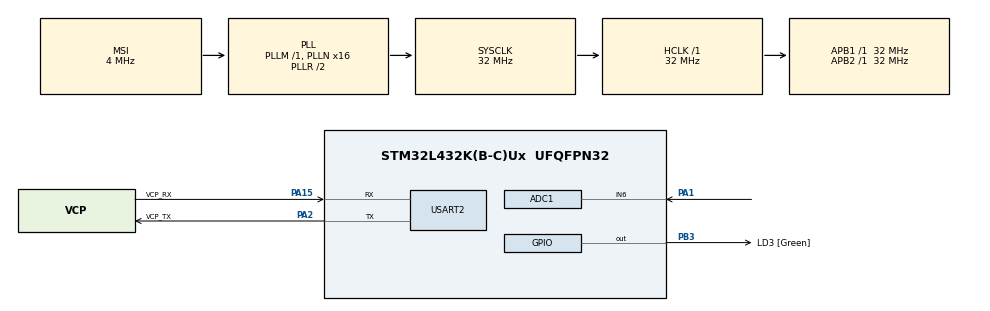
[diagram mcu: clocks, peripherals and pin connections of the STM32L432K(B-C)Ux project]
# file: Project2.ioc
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ADC1.Channel-4\#ChannelRegularConversion=ADC_CHANNEL_6
ADC1.ContinuousConvMode=DISABLE
ADC1.DMAContinuousRequests=ENABLE
ADC1.ExternalTrigConv=ADC_EXTERNALTRIG_T2_TRGO
ADC1.NbrOfConversionFlag=1
ADC1.OffsetNumber-4\#ChannelRegularConversion=ADC_OFFSET_NONE
ADC1.Rank-4\#ChannelRegularConversion=1
ADC1.SamplingTime-4\#ChannelRegularConversion=ADC_SAMPLETIME_2CYCLES_5
ADC1.master=1
Dma.ADC1.0.Direction=DMA_PERIPH_TO_MEMORY
Dma.ADC1.0.Instance=DMA1_Channel1
Dma.ADC1.0.MemDataAlignment=DMA_MDATAALIGN_HALFWORD
Dma.ADC1.0.MemInc=DMA_MINC_ENABLE
Dma.ADC1.0.Mode=DMA_CIRCULAR
Dma.ADC1.0.PeriphDataAlignment=DMA_PDATAALIGN_HALFWORD
Dma.ADC1.0.PeriphInc=DMA_PINC_DISABLE
Dma.ADC1.0.Priority=DMA_PRIORITY_LOW
Dma.Request0=ADC1
Mcu.Family=STM32L4
Mcu.Name=STM32L432K(B-C)Ux
Mcu.Package=UFQFPN32
NVIC.DMA1_Channel1_IRQn=true\:0\:0\:false\:false\:true\:false\:true\:true
NVIC.PriorityGroup=NVIC_PRIORITYGROUP_4
NVIC.USART2_IRQn=true\:0\:0\:false\:false\:true\:true\:true\:true
PA0.GPIO_Label=MCO [High speed clock in]
PA0.Mode=HSE-External-Clock-Source-for-LittleOrca
PA0.Signal=RCC_CK_IN
PA1.Signal=ADCx_IN6
PA13\ (JTMS-SWDIO).GPIO_Label=SWDIO
PA13\ (JTMS-SWDIO).Mode=Serial_Wire
PA13\ (JTMS-SWDIO).Signal=SYS_JTMS-SWDIO
PA14\ (JTCK-SWCLK).GPIO_Label=SWCLK
PA14\ (JTCK-SWCLK).Mode=Serial_Wire
PA14\ (JTCK-SWCLK).Signal=SYS_JTCK-SWCLK
PA15\ (JTDI).GPIO_Label=VCP_RX
PA15\ (JTDI).Mode=Asynchronous
PA15\ (JTDI).Signal=USART2_RX
PA2.GPIO_Label=VCP_TX
PA2.Mode=Asynchronous
PA2.Signal=USART2_TX
PB3\ (JTDO-TRACESWO).GPIO_Label=LD3 [Green]
PB3\ (JTDO-TRACESWO).Signal=GPIO_Output
PC14-OSC32_IN\ (PC14).Mode=LSE-External-Oscillator
PC14-OSC32_IN\ (PC14).Signal=RCC_OSC32_IN
PC15-OSC32_OUT\ (PC15).Mode=LSE-External-Oscillator
PC15-OSC32_OUT\ (PC15).Signal=RCC_OSC32_OUT
ProjectManager.HeapSize=0x200
ProjectManager.StackSize=0x400
ProjectManager.TargetToolchain=STM32CubeIDE
RCC.ADCFreq_Value=32000000
RCC.AHBFreq_Value=32000000
RCC.APB1Freq_Value=32000000
RCC.APB1TimFreq_Value=32000000
RCC.APB2Freq_Value=32000000
RCC.APB2TimFreq_Value=32000000
RCC.CortexFreq_Value=32000000
RCC.HCLKFreq_Value=32000000
RCC.HSE_VALUE=8000000
RCC.HSI16_VALUE=16000000
RCC.HSI48_VALUE=48000000
RCC.HSI_VALUE=16000000
RCC.MSI_VALUE=4000000
RCC.PLLMUL=RCC_PLLMUL_4
RCC.PLLN=16
RCC.PLLSAI1N=16
RCC.SYSCLKFreq_VALUE=32000000
RCC.SYSCLKSource=RCC_SYSCLKSOURCE_PLLCLK
RCC.USBFreq_Value=32000000
RCC.VCOOutputFreq_Value=64000000
SH.ADCx_IN6.0=ADC1_IN6,IN6-Single-Ended
TIM2.Period=99
TIM2.Prescaler=31
TIM2.TIM_MasterOutputTrigger=TIM_TRGO_UPDATE
USART2.VirtualMode-Asynchronous=VM_ASYNC
VP_TIM2_VS_ClockSourceINT.Mode=Internal
board=NUCLEO-L432KC

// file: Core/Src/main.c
/* USER CODE BEGIN Header */
/**
  ******************************************************************************
  * @file           : main.c
  * @brief          : Main program body
  ******************************************************************************
  * @attention
  *
  * Copyright (c) 2026 STMicroelectronics.
  * All rights reserved.
  *
  * This software is licensed under terms that can be found in the LICENSE file
  * in the root directory of this software component.
  * If no LICENSE file comes with this software, it is provided AS-IS.
  *
  ******************************************************************************
  */
/* USER CODE END Header */
#include "main.h"

/* USER CODE BEGIN Includes */
#include <stdio.h>
#include <stdlib.h>
#include <string.h>
/* USER CODE END Includes */

ADC_HandleTypeDef hadc1;
DMA_HandleTypeDef hdma_adc1;

TIM_HandleTypeDef htim2;

UART_HandleTypeDef huart2;

/* USER CODE BEGIN PV */
#define BUFFER_SIZE 512
#define STA_SHIFT 3
#define LTA_SHIFT 9
#define TRIGGER_RATIO 3
// TIGHTENED WINDOW: Reduced from 1000 to 500 to soak up less background noise
#define VALIDATION_WINDOW_LEN 1000
#define COOLDOWN_LEN 50000

// --- SYSTEM STATES ---
typedef enum {
    SYS_INITIAL,
    SYS_CALIBRATING,
    SYS_TEST
} System_State_t;

typedef enum {
    DSP_IDLE,
    DSP_VALIDATING,
    DSP_COOLDOWN
} DSP_State_t;

System_State_t current_sys_state = SYS_INITIAL;
DSP_State_t current_dsp_state = DSP_IDLE;

// --- DMA & DSP BUFFERS ---
uint16_t adc_buffer[BUFFER_SIZE];
uint8_t data_ready_flag = 0;
uint8_t process_first_half = 0;

uint32_t sta = 0, lta = 0, state_timer = 0, ring_count = 0;
int8_t prev_polarity = 1;
// OLD: uint32_t dynamic_mid_rail = 2048;
float dynamic_mid_rail = 2048.0f;uint32_t energy_sum = 0;

// --- MACHINE LEARNING GLOBALS ---
uint32_t learned_profiles[4] = {0, 0, 0, 0};
uint8_t learn_stage = 0;
uint8_t drops_this_stage = 0;
uint32_t temp_energy_accumulator = 0;

// --- UART RX GLOBALS ---
uint8_t rx_byte;
char rx_buffer[50];
uint8_t rx_index = 0;
uint8_t msg_received = 0;
char tx_buf[150];
/* USER CODE END PV */

void SystemClock_Config(void);
static void MX_GPIO_Init(void);
static void MX_DMA_Init(void);
static void MX_USART2_UART_Init(void);
static void MX_TIM2_Init(void);
static void MX_ADC1_Init(void);
/* USER CODE BEGIN PFP */

void Auto_Zero_Routine(void);

/* USER CODE END PFP */

int main(void)
{

  /* MCU Configuration--------------------------------------------------------*/

  /* Reset of all peripherals, Initializes the Flash interface and the Systick. */
  HAL_Init();

  /* Configure the system clock */
  SystemClock_Config();

  /* Initialize all configured peripherals */
  MX_GPIO_Init();
  MX_DMA_Init();
  MX_USART2_UART_Init();
  MX_TIM2_Init();
  MX_ADC1_Init();
  /* USER CODE BEGIN 2 */
  // Start Peripherals
  HAL_ADCEx_Calibration_Start(&hadc1, ADC_SINGLE_ENDED);

  // FIX: Start DMA FIRST, then Start Timer!
  HAL_ADC_Start_DMA(&hadc1, (uint32_t*)adc_buffer, BUFFER_SIZE);
  HAL_TIM_Base_Start(&htim2);

  // Start listening to Python via UART
  HAL_UART_Receive_IT(&huart2, &rx_byte, 1);

  // Calibrate the exact DC offset immediately
  Auto_Zero_Routine();
  // OLD: sprintf(tx_buf, "STM32_READY|MID_RAIL:%lu\n", dynamic_mid_rail);
  sprintf(tx_buf, "STM32_READY|MID_RAIL:%lu\n", (uint32_t)dynamic_mid_rail);
  HAL_UART_Transmit(&huart2, (uint8_t*)tx_buf, strlen(tx_buf), HAL_MAX_DELAY);
  /* USER CODE END 2 */

  /* Infinite loop */
  /* USER CODE BEGIN WHILE */
  while (1)
  {
      // --- 1. HANDLE PYTHON COMMANDS ---
      if (msg_received) {
          msg_received = 0;

          if (strcmp(rx_buffer, "CMD:CALIBRATE") == 0) {
              current_sys_state = SYS_CALIBRATING;
              learn_stage = 0; drops_this_stage = 0; temp_energy_accumulator = 0;
              sprintf(tx_buf, "ACK:CALIBRATING\n");
              HAL_UART_Transmit(&huart2, (uint8_t*)tx_buf, strlen(tx_buf), HAL_MAX_DELAY);
          }
          else if (strncmp(rx_buffer, "CMD:LOAD", 8) == 0) {
              // Python sends: CMD:LOAD,1000,2000,3000,4000
              sscanf(rx_buffer, "CMD:LOAD,%lu,%lu,%lu,%lu",
                     &learned_profiles[0], &learned_profiles[1],
                     &learned_profiles[2], &learned_profiles[3]);
              current_sys_state = SYS_TEST;
              sprintf(tx_buf, "ACK:LOADED_AND_TESTING\n");
              HAL_UART_Transmit(&huart2, (uint8_t*)tx_buf, strlen(tx_buf), HAL_MAX_DELAY);
          }
          else if (strcmp(rx_buffer, "CMD:INITIAL") == 0) {
              current_sys_state = SYS_INITIAL;
              sprintf(tx_buf, "ACK:INITIAL\n");
              HAL_UART_Transmit(&huart2, (uint8_t*)tx_buf, strlen(tx_buf), HAL_MAX_DELAY);
          }
      }

      // --- 2. THE DSP ENGINE (Only runs if data is ready) ---
		if (data_ready_flag) {
			data_ready_flag = 0;
			int start_idx = process_first_half ? 0 : (BUFFER_SIZE / 2);
			int end_idx = process_first_half ? (BUFFER_SIZE / 2) : BUFFER_SIZE;

			for (int i = start_idx; i < end_idx; i++) {
				uint16_t sample = adc_buffer[i];

				uint32_t magnitude = abs((int32_t)sample - (int32_t)dynamic_mid_rail);
				int8_t current_polarity = (sample > dynamic_mid_rail) ? 1 : -1;

				switch (current_dsp_state) {

					case DSP_IDLE:
						// Smoothly track the baseline ONLY when the room is quiet
						dynamic_mid_rail = (0.999f * dynamic_mid_rail) + (0.001f * (float)sample);

						sta = sta + ((magnitude - sta) >> STA_SHIFT);
						lta = lta + ((magnitude - lta) >> LTA_SHIFT);

						// RAISED FLOOR: Changed 'sta > 50' to 'sta > 150' so normal room chatter doesn't falsely trigger it
						if (lta > 0 && sta > (lta * TRIGGER_RATIO) && sta > 150) {
							current_dsp_state = DSP_VALIDATING;
							state_timer = 0; ring_count = 0; energy_sum = 0;
							prev_polarity = current_polarity;
						}
						break;

					case DSP_VALIDATING:
						state_timer++;

						// NOISE GATE: Only add the energy that sits *above* the frozen ambient noise floor (lta)
						if (magnitude > (lta + 5)) {
							energy_sum += (magnitude - lta);
						}

						if (current_polarity != prev_polarity) {
							ring_count++;
							prev_polarity = current_polarity;
						}

						if (state_timer >= VALIDATION_WINDOW_LEN) {

							// NOTE: I lowered this from 10000 to 2000 because our new noise gate
							// drastically reduces the total energy calculated (which is a good thing!)
							if (energy_sum < 2000) {
								current_dsp_state = DSP_COOLDOWN;
								state_timer = 0;
								break;
							}

							if (ring_count >= 3 && current_sys_state != SYS_INITIAL) {
								// ... The rest of your code remains exactly the same from here down! ...
								// --- STATE: CALIBRATING ---
								if (current_sys_state == SYS_CALIBRATING) {
									temp_energy_accumulator += energy_sum;
									drops_this_stage++;

									sprintf(tx_buf, "CAL_DROP:%d|ENERGY:%lu\n", drops_this_stage, energy_sum);
									HAL_UART_Transmit(&huart2, (uint8_t*)tx_buf, strlen(tx_buf), HAL_MAX_DELAY);

									if (drops_this_stage >= 3) {
										learned_profiles[learn_stage] = temp_energy_accumulator / 3;
										sprintf(tx_buf, "CAL_STAGE_DONE:%d|CENTROID:%lu\n", learn_stage, learned_profiles[learn_stage]);
										HAL_UART_Transmit(&huart2, (uint8_t*)tx_buf, strlen(tx_buf), HAL_MAX_DELAY);

										learn_stage++;
										drops_this_stage = 0; temp_energy_accumulator = 0;

										if (learn_stage >= 4) {
											current_sys_state = SYS_INITIAL;
											sprintf(tx_buf, "CAL_COMPLETE:%lu,%lu,%lu,%lu\n",
												learned_profiles[0], learned_profiles[1],
												learned_profiles[2], learned_profiles[3]);
											HAL_UART_Transmit(&huart2, (uint8_t*)tx_buf, strlen(tx_buf), HAL_MAX_DELAY);
										}
									}
								}
								// --- STATE: TEST MODE ---
								else if (current_sys_state == SYS_TEST) {
									uint8_t best_idx = 0;
									uint32_t min_err = 0xFFFFFFFF;

									for (uint8_t j = 0; j < 4; j++) {
										uint32_t err = (energy_sum > learned_profiles[j]) ?
													   (energy_sum - learned_profiles[j]) :
													   (learned_profiles[j] - energy_sum);
										if (err < min_err) { min_err = err; best_idx = j; }
									}

									sprintf(tx_buf, "TEST_RESULT|ENERGY:%lu|CLASS:%d\n", energy_sum, best_idx);
									HAL_UART_Transmit(&huart2, (uint8_t*)tx_buf, strlen(tx_buf), HAL_MAX_DELAY);
								}
							}
							current_dsp_state = DSP_COOLDOWN;
							state_timer = 0;
						}
						break;

					case DSP_COOLDOWN:
						state_timer++;
						if (state_timer >= COOLDOWN_LEN) {
							// FIX: Removed the baseline snap here.
							// It will now unfreeze and smoothly continue from the perfect pre-drop baseline!
							sta = 0;
							lta = 0;
							magnitude = 0; // Clear the local variable
							current_dsp_state = DSP_IDLE;
							// --- NEW: TELL PYTHON WE ARE READY ---
							  sprintf(tx_buf, "READY_FOR_NEXT\n");
							  HAL_UART_Transmit(&huart2, (uint8_t*)tx_buf, strlen(tx_buf), HAL_MAX_DELAY);
						}
						break;
				}
			}
		}
  }
}

void SystemClock_Config(void)
{
  RCC_OscInitTypeDef RCC_OscInitStruct = {0};
  RCC_ClkInitTypeDef RCC_ClkInitStruct = {0};

  /** Configure the main internal regulator output voltage
  */
  if (HAL_PWREx_ControlVoltageScaling(PWR_REGULATOR_VOLTAGE_SCALE1) != HAL_OK)
  {
    Error_Handler();
  }

  /** Configure LSE Drive Capability
  */
  HAL_PWR_EnableBkUpAccess();
  __HAL_RCC_LSEDRIVE_CONFIG(RCC_LSEDRIVE_LOW);

  /** Initializes the RCC Oscillators according to the specified parameters
  * in the RCC_OscInitTypeDef structure.
  */
  RCC_OscInitStruct.OscillatorType = RCC_OSCILLATORTYPE_LSE|RCC_OSCILLATORTYPE_MSI;
  RCC_OscInitStruct.LSEState = RCC_LSE_ON;
  RCC_OscInitStruct.MSIState = RCC_MSI_ON;
  RCC_OscInitStruct.MSICalibrationValue = 0;
  RCC_OscInitStruct.MSIClockRange = RCC_MSIRANGE_6;
  RCC_OscInitStruct.PLL.PLLState = RCC_PLL_ON;
  RCC_OscInitStruct.PLL.PLLSource = RCC_PLLSOURCE_MSI;
  RCC_OscInitStruct.PLL.PLLM = 1;
  RCC_OscInitStruct.PLL.PLLN = 16;
  RCC_OscInitStruct.PLL.PLLP = RCC_PLLP_DIV7;
  RCC_OscInitStruct.PLL.PLLQ = RCC_PLLQ_DIV2;
  RCC_OscInitStruct.PLL.PLLR = RCC_PLLR_DIV2;
  if (HAL_RCC_OscConfig(&RCC_OscInitStruct) != HAL_OK)
  {
    Error_Handler();
  }

  /** Initializes the CPU, AHB and APB buses clocks
  */
  RCC_ClkInitStruct.ClockType = RCC_CLOCKTYPE_HCLK|RCC_CLOCKTYPE_SYSCLK
                              |RCC_CLOCKTYPE_PCLK1|RCC_CLOCKTYPE_PCLK2;
  RCC_ClkInitStruct.SYSCLKSource = RCC_SYSCLKSOURCE_PLLCLK;
  RCC_ClkInitStruct.AHBCLKDivider = RCC_SYSCLK_DIV1;
  RCC_ClkInitStruct.APB1CLKDivider = RCC_HCLK_DIV1;
  RCC_ClkInitStruct.APB2CLKDivider = RCC_HCLK_DIV1;

  if (HAL_RCC_ClockConfig(&RCC_ClkInitStruct, FLASH_LATENCY_1) != HAL_OK)
  {
    Error_Handler();
  }

  /** Enable MSI Auto calibration
  */
  HAL_RCCEx_EnableMSIPLLMode();
}

static void MX_ADC1_Init(void)
{

  ADC_ChannelConfTypeDef sConfig = {0};

  /** Common config
  */
  hadc1.Instance = ADC1;
  hadc1.Init.ClockPrescaler = ADC_CLOCK_ASYNC_DIV1;
  hadc1.Init.Resolution = ADC_RESOLUTION_12B;
  hadc1.Init.DataAlign = ADC_DATAALIGN_RIGHT;
  hadc1.Init.ScanConvMode = ADC_SCAN_DISABLE;
  hadc1.Init.EOCSelection = ADC_EOC_SINGLE_CONV;
  hadc1.Init.LowPowerAutoWait = DISABLE;
  hadc1.Init.ContinuousConvMode = DISABLE;
  hadc1.Init.NbrOfConversion = 1;
  hadc1.Init.DiscontinuousConvMode = DISABLE;
  hadc1.Init.ExternalTrigConv = ADC_EXTERNALTRIG_T2_TRGO;
  hadc1.Init.ExternalTrigConvEdge = ADC_EXTERNALTRIGCONVEDGE_RISING;
  hadc1.Init.DMAContinuousRequests = ENABLE;
  hadc1.Init.Overrun = ADC_OVR_DATA_PRESERVED;
  hadc1.Init.OversamplingMode = DISABLE;
  if (HAL_ADC_Init(&hadc1) != HAL_OK)
  {
    Error_Handler();
  }

  /** Configure Regular Channel
  */
  sConfig.Channel = ADC_CHANNEL_6;
  sConfig.Rank = ADC_REGULAR_RANK_1;
  sConfig.SamplingTime = ADC_SAMPLETIME_2CYCLES_5;
  sConfig.SingleDiff = ADC_SINGLE_ENDED;
  sConfig.OffsetNumber = ADC_OFFSET_NONE;
  sConfig.Offset = 0;
  if (HAL_ADC_ConfigChannel(&hadc1, &sConfig) != HAL_OK)
  {
    Error_Handler();
  }

}

static void MX_TIM2_Init(void)
{

  TIM_ClockConfigTypeDef sClockSourceConfig = {0};
  TIM_MasterConfigTypeDef sMasterConfig = {0};

  htim2.Instance = TIM2;
  htim2.Init.Prescaler = 31;
  htim2.Init.CounterMode = TIM_COUNTERMODE_UP;
  htim2.Init.Period = 99;
  htim2.Init.ClockDivision = TIM_CLOCKDIVISION_DIV1;
  htim2.Init.AutoReloadPreload = TIM_AUTORELOAD_PRELOAD_DISABLE;
  if (HAL_TIM_Base_Init(&htim2) != HAL_OK)
  {
    Error_Handler();
  }
  sClockSourceConfig.ClockSource = TIM_CLOCKSOURCE_INTERNAL;
  if (HAL_TIM_ConfigClockSource(&htim2, &sClockSourceConfig) != HAL_OK)
  {
    Error_Handler();
  }
  sMasterConfig.MasterOutputTrigger = TIM_TRGO_UPDATE;
  sMasterConfig.MasterSlaveMode = TIM_MASTERSLAVEMODE_DISABLE;
  if (HAL_TIMEx_MasterConfigSynchronization(&htim2, &sMasterConfig) != HAL_OK)
  {
    Error_Handler();
  }

}

static void MX_USART2_UART_Init(void)
{

  huart2.Instance = USART2;
  huart2.Init.BaudRate = 230400;
  huart2.Init.WordLength = UART_WORDLENGTH_8B;
  huart2.Init.StopBits = UART_STOPBITS_1;
  huart2.Init.Parity = UART_PARITY_NONE;
  huart2.Init.Mode = UART_MODE_TX_RX;
  huart2.Init.HwFlowCtl = UART_HWCONTROL_NONE;
  huart2.Init.OverSampling = UART_OVERSAMPLING_16;
  huart2.Init.OneBitSampling = UART_ONE_BIT_SAMPLE_DISABLE;
  huart2.AdvancedInit.AdvFeatureInit = UART_ADVFEATURE_NO_INIT;
  if (HAL_UART_Init(&huart2) != HAL_OK)
  {
    Error_Handler();
  }

}

static void MX_DMA_Init(void)
{

  /* DMA controller clock enable */
  __HAL_RCC_DMA1_CLK_ENABLE();

  /* DMA interrupt init */
  /* DMA1_Channel1_IRQn interrupt configuration */
  HAL_NVIC_SetPriority(DMA1_Channel1_IRQn, 0, 0);
  HAL_NVIC_EnableIRQ(DMA1_Channel1_IRQn);

}

static void MX_GPIO_Init(void)
{
  GPIO_InitTypeDef GPIO_InitStruct = {0};

  /* GPIO Ports Clock Enable */
  __HAL_RCC_GPIOC_CLK_ENABLE();
  __HAL_RCC_GPIOA_CLK_ENABLE();
  __HAL_RCC_GPIOB_CLK_ENABLE();

  /*Configure GPIO pin Output Level */
  HAL_GPIO_WritePin(LD3_GPIO_Port, LD3_Pin, GPIO_PIN_RESET);

  /*Configure GPIO pin : LD3_Pin */
  GPIO_InitStruct.Pin = LD3_Pin;
  GPIO_InitStruct.Mode = GPIO_MODE_OUTPUT_PP;
  GPIO_InitStruct.Pull = GPIO_NOPULL;
  GPIO_InitStruct.Speed = GPIO_SPEED_FREQ_LOW;
  HAL_GPIO_Init(LD3_GPIO_Port, &GPIO_InitStruct);

}

/* USER CODE BEGIN 4 */
// DMA Half Transfer (Ping)
void HAL_ADC_ConvHalfCpltCallback(ADC_HandleTypeDef* hadc) {
    process_first_half = 1;
    data_ready_flag = 1;
}

// DMA Full Transfer (Pong)
void HAL_ADC_ConvCpltCallback(ADC_HandleTypeDef* hadc) {
    process_first_half = 0;
    data_ready_flag = 1;
}

// UART Receive Interrupt (Listens to Python)
void HAL_UART_RxCpltCallback(UART_HandleTypeDef *huart) {
    if (huart->Instance == USART2) {
        if (rx_byte == '\n' || rx_byte == '\r') {
            rx_buffer[rx_index] = '\0'; // Null terminate
            msg_received = 1;
            rx_index = 0;
        } else {
            rx_buffer[rx_index++] = rx_byte;
            if (rx_index >= 50) rx_index = 0; // Prevent overflow
        }
        // Re-arm the interrupt
        HAL_UART_Receive_IT(&huart2, &rx_byte, 1);
    }
}

// Helper to calculate Mid-Rail automatically
void Auto_Zero_Routine(void) {
    uint32_t cal_sum = 0, cal_samples = 0;
    while (cal_samples < 10000) {
        if (data_ready_flag) {
            data_ready_flag = 0;
            int start_idx = process_first_half ? 0 : (BUFFER_SIZE / 2);
            int end_idx = process_first_half ? (BUFFER_SIZE / 2) : BUFFER_SIZE;
            for (int i = start_idx; i < end_idx; i++) {
                cal_sum += adc_buffer[i];
                cal_samples++;
                if (cal_samples >= 10000) break;
            }
        }
    }
    // Cast to float for precision
    dynamic_mid_rail = (float)cal_sum / 10000.0f;
}
/* USER CODE END 4 */

void Error_Handler(void)
{
  __disable_irq();
  while (1)
  {
  }
}
